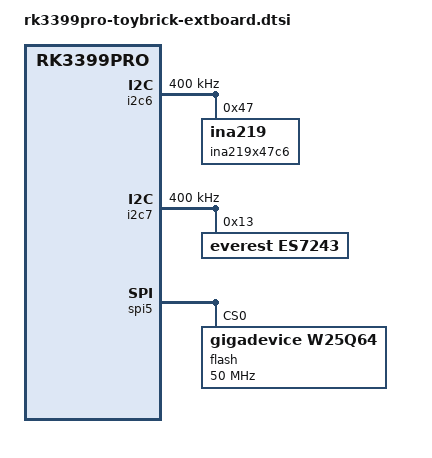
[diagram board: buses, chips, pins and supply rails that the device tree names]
/*
 * Copyright (c) 2019 Fuzhou Rockchip Electronics Co., Ltd
 *
 * This file is dual-licensed: you can use it either under the terms
 * of the GPL or the X11 license, at your option. Note that this dual
 * licensing only applies to this file, and not this project as a
 * whole.
 *
 *  a) This file is free software; you can redistribute it and/or
 *     modify it under the terms of the GNU General Public License as
 *     published by the Free Software Foundation; either version 2 of the
 *     License, or (at your option) any later version.
 *
 *     This file is distributed in the hope that it will be useful,
 *     but WITHOUT ANY WARRANTY; without even the implied warranty of
 *     MERCHANTABILITY or FITNESS FOR A PARTICULAR PURPOSE.  See the
 *     GNU General Public License for more details.
 *
 * Or, alternatively,
 *
 *  b) Permission is hereby granted, free of charge, to any person
 *     obtaining a copy of this software and associated documentation
 *     files (the "Software"), to deal in the Software without
 *     restriction, including without limitation the rights to use,
 *     copy, modify, merge, publish, distribute, sublicense, and/or
 *     sell copies of the Software, and to permit persons to whom the
 *     Software is furnished to do so, subject to the following
 *     conditions:
 *
 *     The above copyright notice and this permission notice shall be
 *     included in all copies or substantial portions of the Software.
 *
 *     THE SOFTWARE IS PROVIDED "AS IS", WITHOUT WARRANTY OF ANY KIND,
 *     EXPRESS OR IMPLIED, INCLUDING BUT NOT LIMITED TO THE WARRANTIES
 *     OF MERCHANTABILITY, FITNESS FOR A PARTICULAR PURPOSE AND
 *     NONINFRINGEMENT. IN NO EVENT SHALL THE AUTHORS OR COPYRIGHT
 *     HOLDERS BE LIABLE FOR ANY CLAIM, DAMAGES OR OTHER LIABILITY,
 *     WHETHER IN AN ACTION OF CONTRACT, TORT OR OTHERWISE, ARISING
 *     FROM, OUT OF OR IN CONNECTION WITH THE SOFTWARE OR THE USE OR
 *     OTHER DEALINGS IN THE SOFTWARE.
 */

/ {
        compatible = "rockchip,rk3399pro-toybrick-extboard","rockchip,rk3399pro";
	
	extbrd: extbrd {
		status = "disabled";
		compatible = "toybrick-extboard";
	};
};

&i2c6 {
	status = "okay";
	i2c-scl-rising-time-ns = <300>;
	i2c-scl-falling-time-ns = <15>;
	clock-frequency=<400000>;

	ina219x47c6: ina219@47 {
	        compatible = "ina219";
	        reg = <0x47>;
	};
};

&i2c7 {
	status = "okay";
	i2c-scl-rising-time-ns = <345>;
	i2c-scl-falling-time-ns = <11>;
	clock-frequency = <400000>;
	es7243: es7243@13 {
		status = "okay";
		compatible = "everest,es7243";
		reg = <0x13>;
	};
};

&spi5 {
	status = "okay";

	flash@0 {
		compatible = "gigadevice,w25q64", "jedec,spi-nor";
		#address-cells = <1>;
		#size-cells = <1>;
		reg = <0>;
		m25p,fast-read;
		// The max SCLK of the flash 104/80 MHZ
		spi-max-frequency = <50000000>;
	};
};
